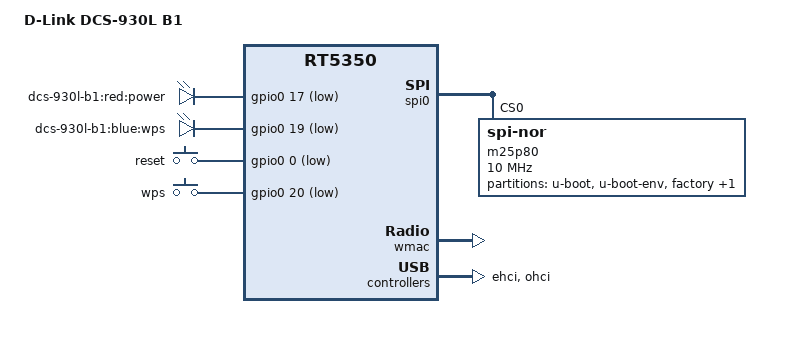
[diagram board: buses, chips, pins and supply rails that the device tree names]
/dts-v1/;

#include "rt5350.dtsi"

#include <dt-bindings/gpio/gpio.h>
#include <dt-bindings/input/input.h>

/ {
	compatible = "dlink,dcs-930l-b1", "ralink,rt5350-soc";
	model = "D-Link DCS-930L B1";

	aliases {
		led-boot = &led_power;
		led-failsafe = &led_power;
		led-running = &led_power;
		led-upgrade = &led_power;
	};

	gpio-leds {
		compatible = "gpio-leds";

		led_power: power {
			label = "dcs-930l-b1:red:power";
			gpios = <&gpio0 17 GPIO_ACTIVE_LOW>;
		};

		wps {
			label = "dcs-930l-b1:blue:wps";
			gpios = <&gpio0 19 GPIO_ACTIVE_LOW>;
		};
	};

	gpio-keys-polled {
		compatible = "gpio-keys-polled";
		poll-interval = <20>;

		reset {
			label = "reset";
			gpios = <&gpio0 0 GPIO_ACTIVE_LOW>;
			linux,code = <KEY_RESTART>;
		};

		wps {
			label = "wps";
			gpios = <&gpio0 20 GPIO_ACTIVE_LOW>;
			linux,code = <KEY_WPS_BUTTON>;
		};
	};
};

&spi0 {
	status = "okay";

	m25p80@0 {
		compatible = "jedec,spi-nor";
		reg = <0>;
		spi-max-frequency = <10000000>;

		partitions {
			compatible = "fixed-partitions";
			#address-cells = <1>;
			#size-cells = <1>;

			partition@0 {
				label = "u-boot";
				reg = <0x0 0x30000>;
				read-only;
			};

			partition@30000 {
				label = "u-boot-env";
				reg = <0x30000 0x10000>;
				read-only;
			};

			factory: partition@40000 {
				label = "factory";
				reg = <0x40000 0x10000>;
				read-only;
			};

			partition@50000 {
				label = "firmware";
				reg = <0x50000 0x3b0000>;
			};
		};
	};
};

&pinctrl {
	state_default: pinctrl0 {
		gpio {
			ralink,group = "i2c", "jtag", "uartf", "led";
			ralink,function = "gpio";
		};
	};
};

&ethernet {
	mtd-mac-address = <&factory 0x4>;
};

&esw {
	mediatek,portmap = <0x2f>;
};

&wmac {
	ralink,mtd-eeprom = <&factory 0>;
};

&ehci {
	status = "okay";
};

&ohci {
	status = "okay";
};
